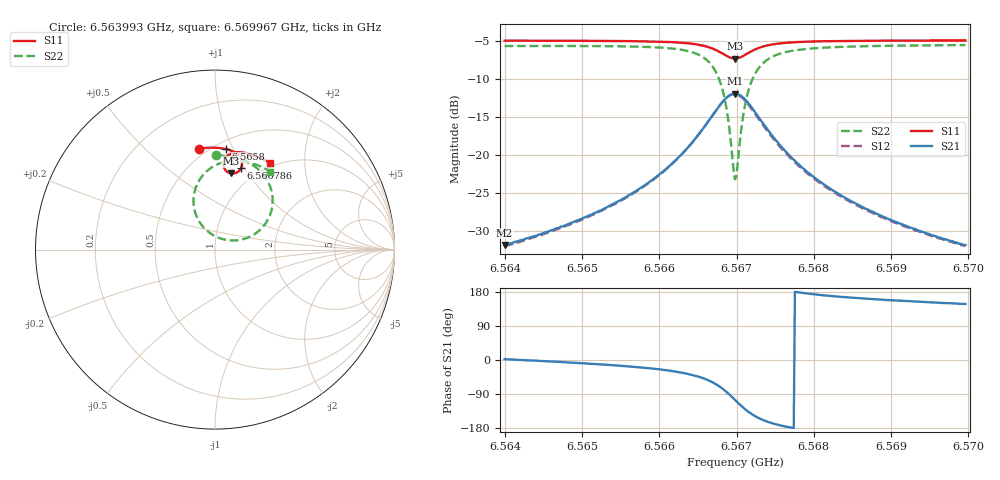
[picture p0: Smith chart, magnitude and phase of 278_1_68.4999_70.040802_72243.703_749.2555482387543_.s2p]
#  HZ  S  RI  R  50.00
! Rohde & Schwarz Vector Network Analyzer
! Rohde-Schwarz,ZNB20-2Port,1311601062101988,3.16
! Created: UTC 3/20/2024, 5:01:02 PM
! freq[Hz]  re:S11  im:S11  re:S21  im:S21  re:S12  im:S12  re:S22  im:S22
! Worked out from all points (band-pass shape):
!   401 points, 6.563993 GHz to 6.569967 GHz, reference 50 ohm
!   highest |S21| = -11.89 dB at 6.56698 GHz (marker M1); lowest = -31.9 dB at 6.563993 GHz (marker M2)
!   |S21| within 3 dB of the highest: 6.566681 GHz to 6.567279 GHz (598 kHz wide, 0.00911 % of centre)
!   lowest |S11| = -7.3 dB at 6.56698 GHz (marker M3), VSWR 2.53, Z = 40.1 + j41.9 ohm
!   |S11| at or under -10 dB: nowhere
!   |S22| runs from -23.2 to -5.5 dB; largest |S21 - S12| = 0.012
!   S11 on the Smith chart (normalised r, x): 6.563993 GHz: 0.45, +0.75; 6.5658 GHz: 0.57, +0.94; 6.566786 GHz: 0.82, +0.97; 6.569967 GHz: 0.95, +1.35
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6.5639933e9  -0.0905 0.5618  0.0255 0.00107  0.0251 0.000514  0.00759 0.5246
6.5649938e9  -0.0102 0.5679  0.0375 -0.00574  0.037 -0.00624  0.0981 0.5155
6.5658003e9  0.0617 0.5602  0.0588 -0.0219  0.0579 -0.0226  0.1919 0.4815
6.5659944e9  0.081 0.5549  0.0676 -0.0308  0.0664 -0.0317  0.2209 0.4633
6.566308e9  0.1149 0.5385  0.086 -0.0583  0.0844 -0.0594  0.2761 0.4093
6.566547e9  0.1414 0.5112  0.0997 -0.1056  0.0974 -0.1074  0.3169 0.3179
6.5666814e9  0.1506 0.4837  0.0953 -0.1532  0.0917 -0.1558  0.3167 0.2267
6.5667859e9  0.146 0.4553  0.07 -0.2021  0.0639 -0.2045  0.2738 0.1349
6.5668307e9  0.1384 0.4429  0.0488 -0.2228  0.0411 -0.2246  0.2354 0.0968
6.5668755e9  0.1266 0.4323  0.0198 -0.2397  0.0108 -0.2401  0.1832 0.067
6.5669502e9  0.0994 0.4238  -0.0412 -0.25  -0.0513 -0.2465  0.0743 0.0524
6.56698e9  0.0876 0.4249  -0.0671 -0.2455  -0.077 -0.2403  0.0294 0.0626
6.5670099e9  0.0761 0.4288  -0.0915 -0.2361  -0.1006 -0.2293  -0.0122 0.0818
6.5670696e9  0.0581 0.4432  -0.1312 -0.2055  -0.1375 -0.1962  -0.0769 0.1401
6.5671294e9  0.0485 0.4623  -0.1548 -0.1669  -0.158 -0.1571  -0.1114 0.2101
6.5671891e9  0.0468 0.4814  -0.1637 -0.1295  -0.1644 -0.1202  -0.12 0.2766
6.5672638e9  0.0523 0.5013  -0.1612 -0.0902  -0.1599 -0.0827  -0.1079 0.344
6.5675177e9  0.0897 0.5349  -0.122 -0.0212  -0.1194 -0.0178  -0.0184 0.4578
6.5679806e9  0.1482 0.542  -0.0727 0.00785  -0.0708 0.00886  0.0997 0.4959
6.5683988e9  0.1889 0.5344  -0.0509 0.0128  -0.0498 0.0133  0.1644 0.492
6.5689812e9  0.2369 0.5179  -0.0349 0.0141  -0.0342 0.0144  0.2286 0.4744
6.5699668e9  0.3075 0.4811  -0.0216 0.0136  -0.021 0.0136  0.3092 0.4338
